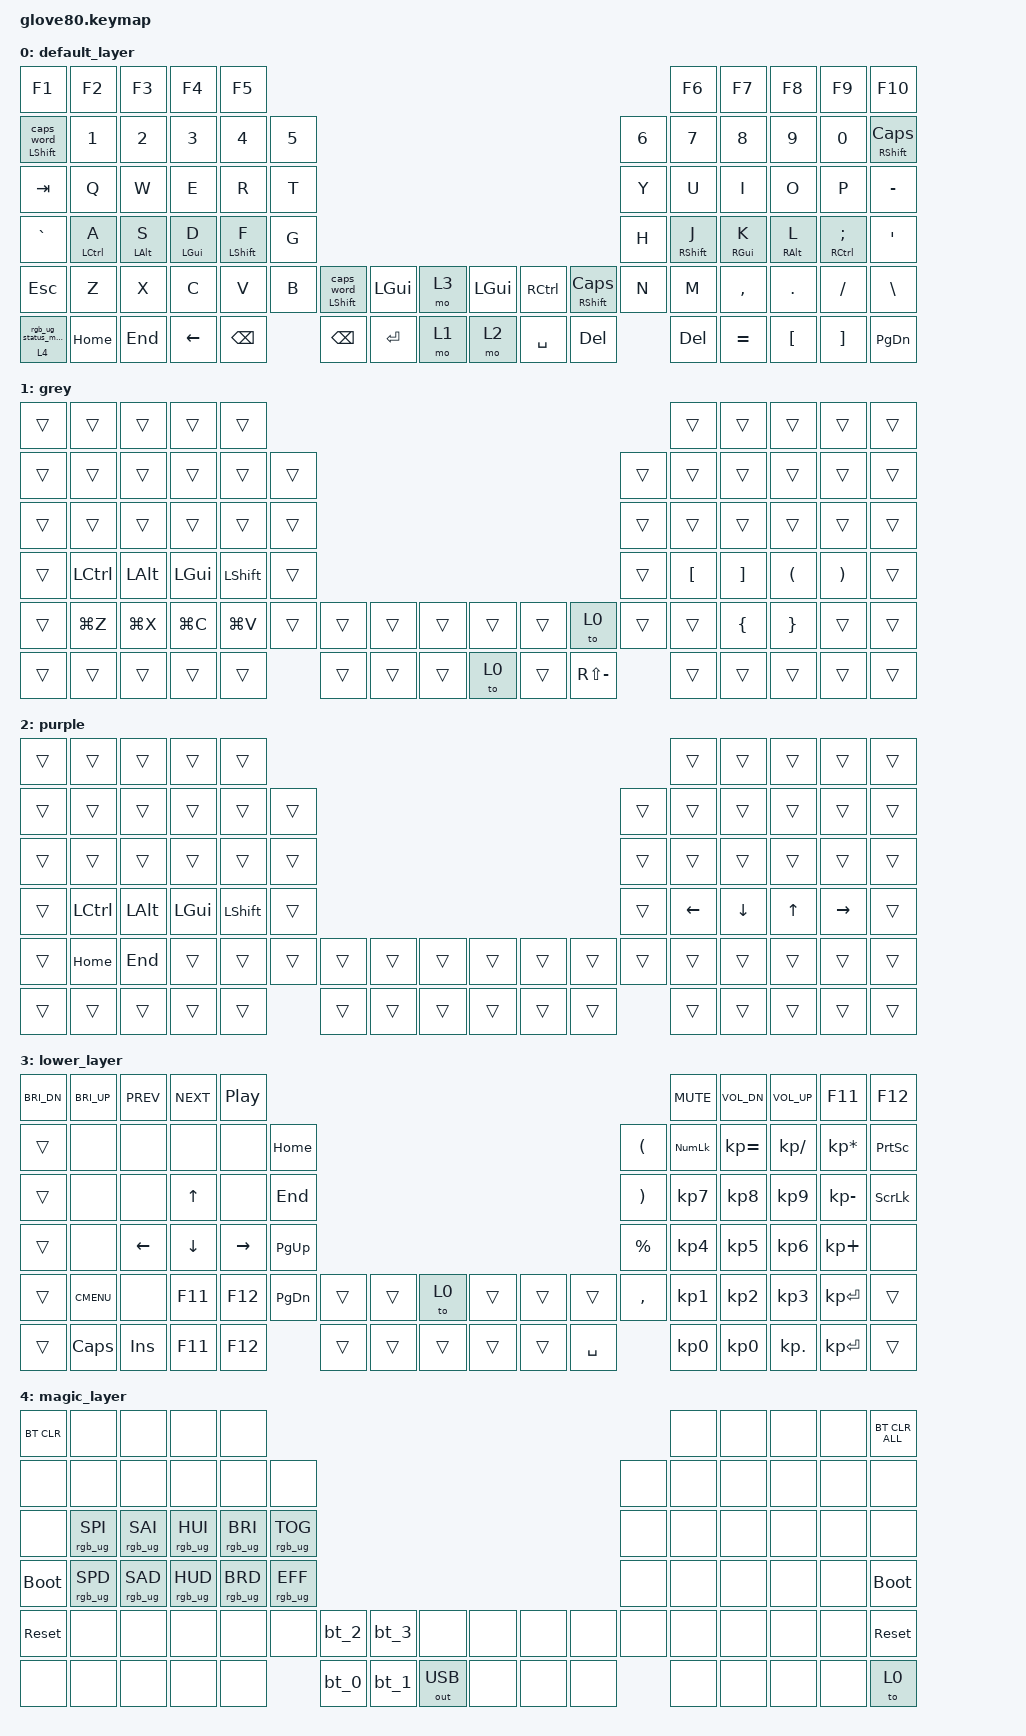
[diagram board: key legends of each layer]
/*
 * Copyright (c) 2020 The ZMK Contributors
 *
 * SPDX-License-Identifier: MIT
 */

#include <behaviors.dtsi>
#include <dt-bindings/zmk/bt.h>
#include <dt-bindings/zmk/keys.h>
#include <dt-bindings/zmk/keys.h>
#include <dt-bindings/zmk/outputs.h>
#include <dt-bindings/zmk/rgb.h>

#define HYPER LC(LS(LG(LALT)))

// layers

#define DEFAULT 0
#define LOWER 1
#define MAGIC 2
#define FACTORY_TEST 3

/ {
    behaviors {
        // For the "layer" key, it'd nice to be able to use it as either a shift or a toggle.
        // Configure it as a tap dance, so the first tap (or hold) is a &mo and the second tap is a &to

        layer_td: tap_dance_0 {
            compatible = "zmk,behavior-tap-dance";
            label = "LAYER_TAP_DANCE";
            #binding-cells = <0>;
            tapping-term-ms = <200>;
            bindings = <&mo 3>, <&to 3>;
        };

        magic: magic_hold_tap {
            compatible = "zmk,behavior-hold-tap";
            label = "MAGIC_HOLD_TAP";
            #binding-cells = <2>;
            flavor = "tap-preferred";
            tapping-term-ms = <200>;
            bindings = <&mo>, <&rgb_ug_status_macro>;
        };

        shift_caps: shift_caps {
            compatible = "zmk,behavior-hold-tap";
            label = "SHIFT_CAPS";
            bindings = <&kp>, <&kt>;

            #binding-cells = <2>;
            tapping-term-ms = <200>;
        };

        homerow_left: homerow_left {
            compatible = "zmk,behavior-hold-tap";
            label = "HOMEROW_LEFT";
            bindings = <&kp>, <&kp>;

            #binding-cells = <2>;
            hold-trigger-key-positions = <16 28 40 58 5 17 29 41 59 75 8 9 18 19 20 21 30 31 32 33 42 43 44 45 60 61 62 63 76 77 78 79 7 6 55 56 57 58 73 74 72 71 54 53 52 69 70>;
            tapping-term-ms = <500>;
            quick-tap-ms = <175>;
            require-prior-idle-ms = <150>;
            flavor = "balanced";
            hold-trigger-on-release;
        };

        homerow_right: homerow_right {
            compatible = "zmk,behavior-hold-tap";
            label = "HOMEROW_RIGHT";
            bindings = <&kp>, <&kp>;

            #binding-cells = <2>;
            tapping-term-ms = <500>;
            quick-tap-ms = <175>;
            require-prior-idle-ms = <150>;
            hold-trigger-key-positions = <0 1 10 11 12 13 14 15 22 23 24 25 26 27 34 35 36 37 38 39 46 47 48 49 50 51 52 53 54 55 56 57 64 65 66 67 68 69 70 71 72 73 74 2 3 4>;
            flavor = "balanced";
            hold-trigger-on-release;
        };

        sticky_hold_tap: sticky_hold_tap {
            compatible = "zmk,behavior-hold-tap";
            label = "STICKY_HOLD_TAP";
            bindings = <&kp>, <&kt>;

            #binding-cells = <2>;
            tapping-term-ms = <200>;
        };

        auto_snake: auto_snake {
            compatible = "zmk,behavior-tap-dance";
            label = "AUTO_SNAKE";
            #binding-cells = <0>;
            bindings = <&kp CAPSLOCK>, <&to 1>;
        };

        autosnake_caps_hold: autosnake_caps_hold {
            compatible = "zmk,behavior-hold-tap";
            label = "AUTOSNAKE_CAPS_HOLD";
            bindings = <&kp>, <&auto_snake>;

            #binding-cells = <2>;
            tapping-term-ms = <200>;
        };

        rctrl_hold_tap: rctrl_hold_tap {
            compatible = "zmk,behavior-hold-tap";
            label = "RCTRL_HOLD_TAP";
            bindings = <&kp>, <&kp>;

            #binding-cells = <2>;
            tapping-term-ms = <150>;
        };

        caps_shift_l: caps_shift_l {
            compatible = "zmk,behavior-hold-tap";
            label = "CAPS_SHIFT_L";
            bindings = <&kp>, <&caps_word>;

            #binding-cells = <2>;
            tapping-term-ms = <150>;
        };
    };

    macros {
        rgb_ug_status_macro: rgb_ug_status_macro_0 {
            label = "RGB_UG_STATUS";
            compatible = "zmk,behavior-macro";
            #binding-cells = <0>;
            bindings = <&rgb_ug RGB_STATUS>;
        };

        bt_0: bt_profile_macro_0 {
            label = "BT_0";
            compatible = "zmk,behavior-macro";
            #binding-cells = <0>;
            bindings = <&out OUT_BLE &bt BT_SEL 0>;
        };

        bt_1: bt_profile_macro_1 {
            label = "BT_1";
            compatible = "zmk,behavior-macro";
            #binding-cells = <0>;
            bindings = <&out OUT_BLE &bt BT_SEL 1>;
        };

        bt_2: bt_profile_macro_2 {
            label = "BT_2";
            compatible = "zmk,behavior-macro";
            #binding-cells = <0>;
            bindings = <&out OUT_BLE &bt BT_SEL 2>;
        };

        bt_3: bt_profile_macro_3 {
            label = "BT_3";
            compatible = "zmk,behavior-macro";
            #binding-cells = <0>;
            bindings = <&out OUT_BLE &bt BT_SEL 3>;
        };
    };

    keymap {
        compatible = "zmk,keymap";

        default_layer {
            // ---------------------------------------------------------------------------------------------------------------------------------
            // |  F1   |  F2 |  F3 |  F4  |  F5  |                                                               |  F6   |  F7   |  F8  |   F9  |  F10 |
            // |  =    |  1  |  2  |  3   |  4   |  5   |                                                 |  6   |   7   |   8   |  9   |   0   |   -  |
            // |  TAB  |  Q  |  W  |  E   |  R   |  T   |                                                 |  Y   |   U   |   I   |  O   |   P   |   \  |
            // |  ESC  |  A  |  S  |  D   |  F   |  G   |                                                 |  H   |   J   |   K   |  L   |   ;   |   '  |
            // |   `   |  Z  |  X  |  C   |  V   |  B   | LSHFT | LCTRL | LOWER | | LGUI  | RCTRL | RSHFT |  N   |   M   |   ,   |  .   |   /   | PGUP |
            // | MAGIC | HOME| END | LEFT | RIGHT|      | BSPC  | DEL   | LALT  | | RALT  | RET   | SPACE |      |  UP   | DOWN  |  [   |   ]   | PGDN |

            bindings = <
&kp F1                 &kp F2                 &kp F3                &kp F4                &kp F5                                                                                                                                               &kp F6                   &kp F7                 &kp F8                      &kp F9                          &kp F10
&caps_shift_l LSHFT 0  &kp N1                 &kp N2                &kp N3                &kp N4                  &kp N5                                                                                                               &kp N6  &kp N7                   &kp N8                 &kp N9                      &kp N0                          &shift_caps RSHIFT CAPSLOCK
&kp TAB                &kp Q                  &kp W                 &kp E                 &kp R                   &kp T                                                                                                                &kp Y   &kp U                    &kp I                  &kp O                       &kp P                           &kp MINUS
&kp GRAVE              &homerow_left LCTRL A  &homerow_left LALT S  &homerow_left LGUI D  &homerow_left LSHIFT F  &kp G                                                                                                                &kp H   &homerow_right RSHIFT J  &homerow_right RGUI K  &homerow_right RIGHT_ALT L  &homerow_right RCTRL SEMICOLON  &kp SQT
&kp ESCAPE             &kp Z                  &kp X                 &kp C                 &kp V                   &kp B   &caps_shift_l LEFT_SHIFT 0  &kp LGUI   &mo 3  &kp LGUI  &kp RIGHT_CONTROL  &shift_caps RIGHT_SHIFT CAPSLOCK  &kp N   &kp M                    &kp COMMA              &kp DOT                     &kp FSLH                        &kp BACKSLASH
&magic 4 0             &kp HOME               &kp END               &kp LEFT              &kp BACKSPACE                   &kp BACKSPACE               &kp ENTER  &mo 1  &mo 2     &kp SPACE          &kp DELETE                                &kp DELETE               &kp EQUAL              &kp LBKT                    &kp RBKT                        &kp PG_DN
            >;
        };

        grey {
            bindings = <
&trans  &trans     &trans     &trans     &trans                                                                             &trans            &trans             &trans                &trans                 &trans
&trans  &trans     &trans     &trans     &trans      &trans                                                         &trans  &trans            &trans             &trans                &trans                 &trans
&trans  &trans     &trans     &trans     &trans      &trans                                                         &trans  &trans            &trans             &trans                &trans                 &trans
&trans  &kp LCTRL  &kp LALT   &kp LGUI   &kp LSHIFT  &trans                                                         &trans  &kp LEFT_BRACKET  &kp RIGHT_BRACKET  &kp LEFT_PARENTHESIS  &kp RIGHT_PARENTHESIS  &trans
&trans  &kp LG(Z)  &kp LG(X)  &kp LG(C)  &kp LG(V)   &trans  &trans  &trans  &trans  &trans  &trans  &to 0          &trans  &trans            &kp LEFT_BRACE     &kp RIGHT_BRACE       &trans                 &trans
&trans  &trans     &trans     &trans     &trans              &trans  &trans  &trans  &to 0   &trans  &kp RS(MINUS)          &trans            &trans             &trans                &trans                 &trans
            >;
        };

        purple {
            bindings = <
&trans  &trans     &trans    &trans    &trans                                                                      &trans    &trans    &trans        &trans     &trans
&trans  &trans     &trans    &trans    &trans      &trans                                                  &trans  &trans    &trans    &trans        &trans     &trans
&trans  &trans     &trans    &trans    &trans      &trans                                                  &trans  &trans    &trans    &trans        &trans     &trans
&trans  &kp LCTRL  &kp LALT  &kp LGUI  &kp LSHIFT  &trans                                                  &trans  &kp LEFT  &kp DOWN  &kp UP_ARROW  &kp RIGHT  &trans
&trans  &kp HOME   &kp END   &trans    &trans      &trans  &trans  &trans  &trans  &trans  &trans  &trans  &trans  &trans    &trans    &trans        &trans     &trans
&trans  &trans     &trans    &trans    &trans              &trans  &trans  &trans  &trans  &trans  &trans          &trans    &trans    &trans        &trans     &trans
            >;
        };

        lower_layer {
            bindings = <
&kp C_BRI_DN  &kp C_BRI_UP  &kp C_PREV  &kp C_NEXT  &kp C_PP                                                                            &kp C_MUTE  &kp C_VOL_DN  &kp C_VOL_UP   &kp F11          &kp F12
&trans        &none         &none       &none       &none      &kp HOME                                                      &kp LPAR   &kp KP_NUM  &kp KP_EQUAL  &kp KP_DIVIDE  &kp KP_MULTIPLY  &kp PSCRN
&trans        &none         &none       &kp UP      &none      &kp END                                                       &kp RPAR   &kp KP_N7   &kp KP_N8     &kp KP_N9      &kp KP_MINUS     &kp SLCK
&trans        &none         &kp LEFT    &kp DOWN    &kp RIGHT  &kp PG_UP                                                     &kp PRCNT  &kp KP_N4   &kp KP_N5     &kp KP_N6      &kp KP_PLUS      &none
&trans        &kp K_CMENU   &none       &kp F11     &kp F12    &kp PG_DN  &trans  &trans  &to 0   &trans  &trans  &trans     &kp COMMA  &kp KP_N1   &kp KP_N2     &kp KP_N3      &kp KP_ENTER     &trans
&trans        &kp CAPS      &kp INS     &kp F11     &kp F12               &trans  &trans  &trans  &trans  &trans  &kp SPACE             &kp KP_N0   &kp KP_N0     &kp KP_DOT     &kp KP_ENTER     &trans
            >;
        };

        magic_layer {
            bindings = <
&bt BT_CLR   &none            &none            &none            &none                                                                                     &none  &none  &none  &none  &bt BT_CLR_ALL
&none        &none            &none            &none            &none            &none                                                             &none  &none  &none  &none  &none  &none
&none        &rgb_ug RGB_SPI  &rgb_ug RGB_SAI  &rgb_ug RGB_HUI  &rgb_ug RGB_BRI  &rgb_ug RGB_TOG                                                   &none  &none  &none  &none  &none  &none
&bootloader  &rgb_ug RGB_SPD  &rgb_ug RGB_SAD  &rgb_ug RGB_HUD  &rgb_ug RGB_BRD  &rgb_ug RGB_EFF                                                   &none  &none  &none  &none  &none  &bootloader
&sys_reset   &none            &none            &none            &none            &none            &bt_2  &bt_3  &none         &none  &none  &none  &none  &none  &none  &none  &none  &sys_reset
&none        &none            &none            &none            &none                             &bt_0  &bt_1  &out OUT_USB  &none  &none  &none         &none  &none  &none  &none  &to 0
            >;
        };
    };
};
